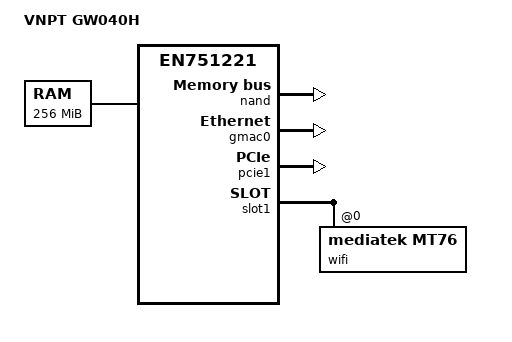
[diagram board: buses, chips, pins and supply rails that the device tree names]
// SPDX-License-Identifier: (GPL-2.0-only OR BSD-2-Clause)
/dts-v1/;

#include "en751221.dtsi"

/ {
	model = "VNPT GW040H";
	compatible = "vnpt,gw040h", "econet,en751221";

	memory@0 {
		device_type = "memory";
		reg = <0x00000000 0x10000000>;
	};

	/* Scratch buffer for the serial (xmodem) flashing procedure: the
	 * OEM bootloader stages the whole firmware image at 0x85000000
	 * (physical 0x05000000) before "jump", and the rescue initramfs
	 * reads it back through /dev/mem. Reserve it so the kernel's page
	 * allocator never hands these pages out - a single clobbered byte
	 * silently corrupts the image. 16 MiB covers the 9 MiB image. */
	reserved-memory {
		#address-cells = <1>;
		#size-cells = <1>;
		ranges;

		staging@5000000 {
			reg = <0x05000000 0x01000000>;
			no-map;
		};
	};

	chosen {
		stdout-path = "/serial@1fbf0000:115200";
		linux,usable-memory-range = <0x00020000 0x0ffe0000>;
		/* Attach UBI to the nested "rootfs_ubi" partition, which is a
		 * window over the 34 MiB "data" region (flash offset 0x1880000)
		 * rather than the old 8 MiB window inside the tclinux slot.
		 * The window inside tclinux could not grow past tclinux_alt
		 * (0xc80000), which left rootfs_data below UBIFS' 17-LEB
		 * minimum once LuCI + wpad were added, so the overlay was
		 * unwritable. On the 34 MiB region rootfs_data auto-sizes to
		 * ~29 MiB. Using an explicit ubi.mtd= bootarg also disables
		 * the auto-attach of the "data" partition. */
		bootargs = "console=ttyS0,115200 ubi.mtd=rootfs_ubi";
	};
};

&nand {
	status = "okay";
	econet,bmt;

	partitions {
		compatible = "fixed-partitions";
		#address-cells = <1>;
		#size-cells = <1>;

		partition@0 {
			label = "bootloader";
			reg = <0x0 0x40000>;
			read-only;
		};

		partition@40000 {
			label = "romfile";
			reg = <0x40000 0x40000>;
			read-only;
		};

		partition@80000 {
			label = "tclinux";
			reg = <0x80000 0xc00000>;
			econet,enable-remap;
		};

		partition@c80000 {
			label = "tclinux_alt";
			reg = <0xc80000 0xc00000>;
		};

		/* Window over the 34 MiB region at flash absolute 0x1880000
		 * (the OEM "data" partition) that now hosts the whole UBI: the
		 * squashfs "rootfs" volume plus a rootfs_data overlay which
		 * auto-sizes to the remaining ~29 MiB. The image's UBI payload
		 * is written here directly by the flasher (mtd write to
		 * "rootfs_ubi"); it no longer sits inside the tclinux slot.
		 * The old 8 MiB window inside tclinux could not grow past
		 * tclinux_alt (0xc80000), which left rootfs_data below UBIFS'
		 * 17-LEB minimum once LuCI + wpad were added, leaving the
		 * overlay unwritable.
		 *
		 * ofpart_core.c only walks DIRECT children of the "partitions"
		 * node and has no overlap rejection, so a top-level node is the
		 * way to name a sub-region for ubi.mtd=. Deliberately not named
		 * "rootfs" and no linux,rootfs property, so ROOT_DEV is not
		 * hijacked to a raw mtdblock. No econet,enable-remap: UBI does
		 * its own bad block management. The OEM "data" partition is
		 * intentionally NOT declared, so that nothing (bootloader,
		 * kernel default or userspace) can attach a second UBI instance
		 * to the same flash region - two UBI instances over one region
		 * would fight over the erase counters and corrupt both. */
		partition@1880000 {
			label = "rootfs_ubi";
			reg = <0x1880000 0x2200000>;
		};

		partition@3a80000 {
			label = "yaffs";
			reg = <0x3a80000 0x2400000>;
		};

		partition@5e80000 {
			label = "safedata";
			reg = <0x5e80000 0xa00000>;
		};

		partition@7520000 {
			label = "reservearea";
			reg = <0x7520000 0x80000>;
			nvmem-layout {
				compatible = "fixed-layout";
				#address-cells = <1>;
				#size-cells = <1>;

				/* Factory MT7615 EEPROM (macro "0x7615" in the
				 * low endian chip-id field at 0x000, MAC at
				 * 0x004). One MT7615 serves both bands.
				 * mt7615_eeprom_load() requests
				 * MT7615_EEPROM_FULL_SIZE (0x4da8) bytes via
				 * nvmem; a shorter cell makes the read fail
				 * with -EINVAL and mt76_eeprom_init() then
				 * quietly continues with a zeroed EEPROM.
				 * Only the first 0x400 bytes (the MT7615 base
				 * EEPROM) are populated in flash - the
				 * DCOC/TXDPD tail stays 0xff, which is fine
				 * because MT_EE_CALDATA_FLASH (0x052) is 0x00
				 * here, so those tables are never read. */
				eeprom_mt7615: eeprom@20000 {
					reg = <0x20000 0x4da8>;
				};
			};
		};
	};
};

&gmac0 {
	status = "okay";
};

/* The WiFi module is a single MediaTek MT7615 on PCIe controller 1
 * (1fb83000). It enumerates as 14c3:7615 and provides both bands from
 * the calibration data stored in "reservearea". PCIe controller 0
 * (1fb81000) reports a link timeout - nothing is attached there. */
&pcie1 {
	status = "okay";
};

&slot1 {
	wifi@0,0 {
		compatible = "mediatek,mt76";
		reg = <0x0000 0 0 0 0>;
		nvmem-cells = <&eeprom_mt7615>;
		nvmem-cell-names = "eeprom";
	};
};
